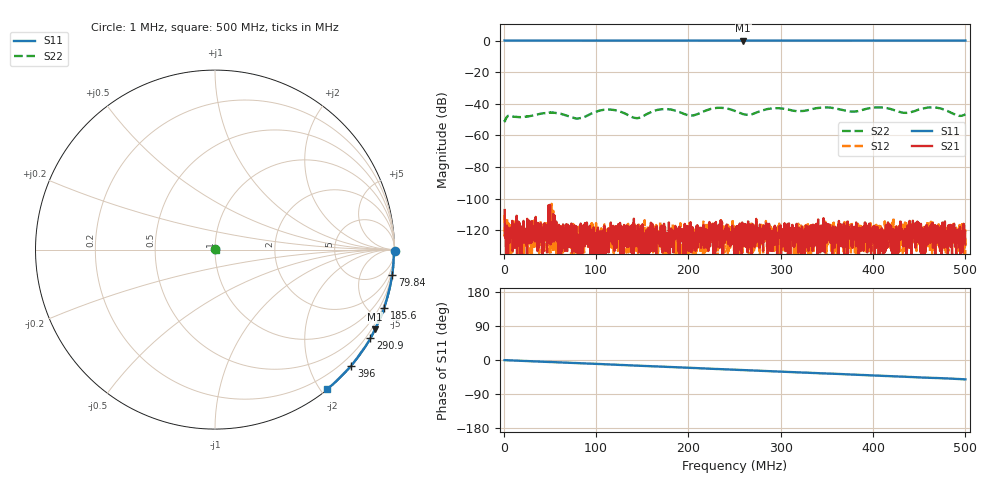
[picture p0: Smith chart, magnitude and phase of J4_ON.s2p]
! MS46122B
! 1746301/73750021
! 8/7/2023 2:37:41 PM
! C:\USERS\SPEGWAL\DOWNLOADS\SAURABH\REACH\NODES\FRONT END\MEASUREMENTS\MEASURED S-PARAMETER_07-08-2023\MS-3\P2_J3\J4_ON.S2P
! CHANNEL.1
! TR.MEASUREMENT
! CORRECTED.DATA
# GHZ S RI R 50.0
! FREQ.GHZ  S11RE  S11IM  S21RE  S21IM  S12RE  S12IM  S22RE  S22IM
!; PortSelection: Port_12
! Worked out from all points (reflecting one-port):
!   2001 points, 1 MHz to 500 MHz, reference 50 ohm
!   lowest |S11| = 0.0 dB at 259.2 MHz (marker M1), VSWR 386.00, Z = 2.46 - j212 ohm
!   phase of S11 starts at -0 deg and turns -51 deg over the sweep
!   S11 on the Smith chart (normalised r, x): 1 MHz: open; 79.84 MHz: 0, -14; 185.6 MHz: 0.07, -6.00; 290.9 MHz: 0.02, -3.77; 396 MHz: 0.01, -2.72; 500 MHz: 0.01, -2.09
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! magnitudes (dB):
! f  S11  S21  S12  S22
! 1 MHz  0.0  -107.1  -109.9  -50.2
! 5.99 MHz  0.0  -124.3  -117.7  -47.6
! 51.4 MHz  0.0  -120.5  -111.4  -45.7
! 79.84 MHz  0.0  -134.0  -123.0  -49.3
! 84.33 MHz  0.0  -119.8  -123.9  -48.9
! 113.5 MHz  0.0  -134.0  -131.0  -43.6
! 145.5 MHz  0.0  -124.7  -137.0  -49.0
! 167.4 MHz  0.0  -120.9  -120.7  -43.7
! 185.6 MHz  0.0  -118.9  -124.3  -44.3
! 202.8 MHz  0.0  -127.7  -122.1  -47.4
! 229.8 MHz  0.0  -114.7  -121.4  -42.6
! 250.5 MHz  0.0  -118.9  -117.9  -44.5
! 259.2 MHz  0.0  -122.8  -121.4  -46.5
! 290.9 MHz  0.0  -120.9  -128.0  -42.8
! 333.8 MHz  0.0  -126.0  -125.4  -43.4
! 378.7 MHz  0.0  -125.9  -130.5  -44.9
! 396 MHz  0.0  -115.7  -128.0  -42.8
! 416.9 MHz  0.0  -122.8  -122.8  -43.0
! 435.9 MHz  0.0  -123.1  -114.1  -45.7
! 466.3 MHz  0.0  -124.7  -122.4  -42.3
! 491.8 MHz  0.0  -121.0  -120.7  -47.5
! 500 MHz  0.0  -128.9  -140.0  -46.6
